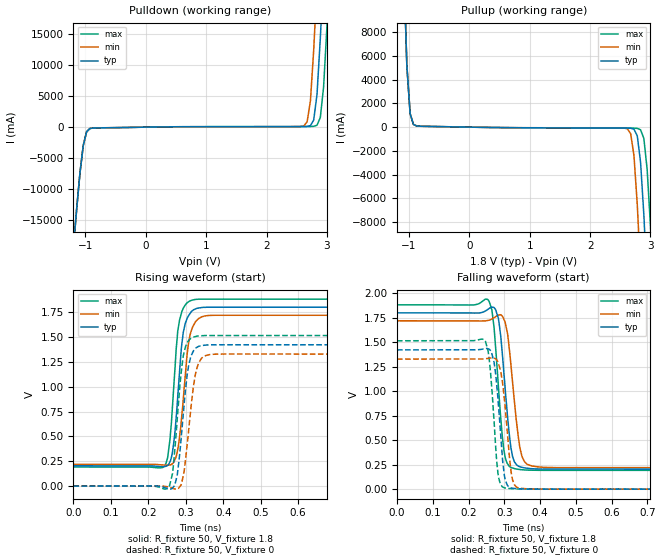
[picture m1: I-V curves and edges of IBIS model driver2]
| IBIS file inv_chain_tr5ps.ibs created by PYS2IBIS3
| Missouri S&T EMC Lab
[IBIS Ver] 7.1
[File Name] inv_chain_tr5ps.ibs
[File Rev] 1.0
[Date] Jul 27, 2026
[Source] Eight-stage inv_chain transistor model characterized with s2ibispy
[Notes] Parameter selection; sim_time=9.970e-10, tr=tf=5.000e-12.
[Component] invchain
[Manufacturer] s2ibispy study
[Package]
| variable   typ   min   max
R_pkg 0 NA NA
L_pkg 0H NA NA
C_pkg 0F NA NA
[Pin]  signal_name   model_name   R_pin   L_pin   C_pin
VSSQ   VSSQ   Gnd
VCCQ   VCCQ   Power
| IN IN dummy
PAD   PAD   driver2
| End of Component
| Models and submodels in the file (1): driver2 (Output)
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[Model] driver2
Model_type Output
Polarity Non-Inverting
Enable Active-High
Vinl  = 0.8V
Vinh  = 2V
C_comp 0.4680pF NA NA
[Temperature Range] 27.0000 27.0000 27.0000
[Voltage Range] 1.8000V 1.7000V 1.9000V
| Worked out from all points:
|   slope of the pulldown table from 0 to 0.27 V, typ, clamps not added: 6.79 ohm
|   slope of the pullup table from 0 to 0.27 V, typ, clamps not added: 12.6 ohm
|   rising waveform, R_fixture 50, V_fixture 1.8: 20-80 % time 20.5ps typ, 22.3ps min, 19.1ps max; typ from 0.204 V to 1.8 V
|   rising waveform, R_fixture 50, V_fixture 0: 20-80 % time 21.7ps typ, 23.3ps min, 20.4ps max; typ from 0 V to 1.42 V
|   falling waveform, R_fixture 50, V_fixture 1.8: 20-80 % time 23ps typ, 25.5ps min, 21.1ps max; typ from 1.8 V to 0.204 V
|   falling waveform, R_fixture 50, V_fixture 0: 20-80 % time 18.6ps typ, 20.2ps min, 17.3ps max; typ from 1.42 V to 0 V
[Pulldown]
| Voltage   I(typ)   I(min)   I(max)
-1.8V     -87.88A    -87.88A    -87.88A
-1.2V     -19.4A     -19.4A     -19.4A
-1.036V   -2.952A    -2.948A    -2.955A
-927.3mV  -221.8mA   -216.4mA   -227mA
2.618V    95.77mA    193.1mA    97.15mA
2.727V    244.8mA    4.224A     106.4mA
2.782V    1.151A     12.49A     132.5mA
2.836V    5.27A      23.04A     313.7mA
2.891V    14.25A     33.59A     1.533A
2.946V    24.81A     44.15A     6.464A
3V        35.36A     54.71A     16.02A
3.6V      151.5A     170.8A     132.1A
[Pullup]
| Voltage   I(typ)   I(min)   I(max)
-1.8V     151.4A     151.4A     151.4A
-1.091V   14.2A      14.19A     14.2A
-981.8mV  1.13A      1.129A     1.132A
-872.7mV  99.18mA    97.54mA    100.6mA
2.618V    -78.19mA   -142.5mA   -79.21mA
2.727V    -177.2mA   -2.408A    -86.52mA
2.782V    -728.3mA   -6.523A    -104.6mA
2.836V    -2.952A    -12.18A    -222.3mA
2.891V    -7.391A    -18.4A     -950.7mA
2.946V    -13.22A    -24.62A    -3.561A
3V        -19.44A    -30.85A    -8.297A
3.6V      -87.92A    -99.33A    -76.52A
[Ramp]
| variable   typ   min   max
dV/dt_r 0.8532/0.0216n 0.7968/0.02332n 0.9090/0.02042n
dV/dt_f 0.9575/0.023n 0.8972/0.02469n 1.0171/0.02147n
R_load = 50
[Rising Waveform]
R_fixture = 50
V_fixture = 1.8
|time   V(typ)   V(min)   V(max)
0s        204.2mV    219.5mV    192.2mV
242.5ps   195.8mV    210.7mV    198.8mV
251.5ps   207.6mV    210.1mV    286.1mV
263.5ps   321.4mV    223.5mV    753.3mV
279.4ps   949.2mV    383.6mV    1.581V
292.4ps   1.526V     837.1mV    1.782V
310.4ps   1.732V     1.504V     1.862V
327.3ps   1.786V     1.66V      1.879V
357.3ps   1.8V       1.716V     1.882V
997ps     1.8V       1.719V     1.882V
[Rising Waveform]
R_fixture = 50
V_fixture = 0
|time   V(typ)   V(min)   V(max)
0s        13.08nV    12.76nV    13.48nV
251.5ps   -25.53mV   -7.004mV   -21.95mV
265.5ps   -16.26mV   -23.56mV   156.2mV
277.4ps   115.6mV    -28.1mV    687.2mV
288.4ps   519.4mV    22.36mV    1.178V
303.4ps   1.114V     407.9mV    1.439V
318.4ps   1.346V     947.6mV    1.497V
333.3ps   1.405V     1.231V     1.511V
363.3ps   1.422V     1.323V     1.515V
997ps     1.422V     1.328V     1.515V
[Falling Waveform]
R_fixture = 50
V_fixture = 1.8
|time   V(typ)   V(min)   V(max)
0s        1.8V       1.719V     1.882V
255.5ps   1.839V     1.723V     1.929V
271.5ps   1.854V     1.751V     1.65V
284.4ps   1.725V     1.778V     1.004V
298.4ps   1.204V     1.736V     411.8mV
309.4ps   727.4mV    1.583V     257.7mV
318.4ps   426.4mV    1.271V     222.4mV
343.3ps   229.4mV    428.6mV    200.3mV
368.3ps   211.4mV    246.9mV    194.3mV
997ps     204.2mV    219.5mV    192.2mV
[Falling Waveform]
R_fixture = 50
V_fixture = 0
|time   V(typ)   V(min)   V(max)
0s        1.422V     1.328V     1.515V
246.5ps   1.435V     1.332V     1.514V
258.5ps   1.426V     1.337V     1.307V
271.5ps   1.295V     1.339V     692.6mV
283.4ps   869.6mV    1.283V     133.1mV
298.4ps   185.6mV    976.5mV    15.45mV
307.4ps   47.03mV    627.7mV    8.878mV
320.4ps   11.54mV    143.8mV    4.756mV
338.3ps   4.603mV    14.32mV    1.866mV
997ps     13.04nV    12.46nV    13.49nV
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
